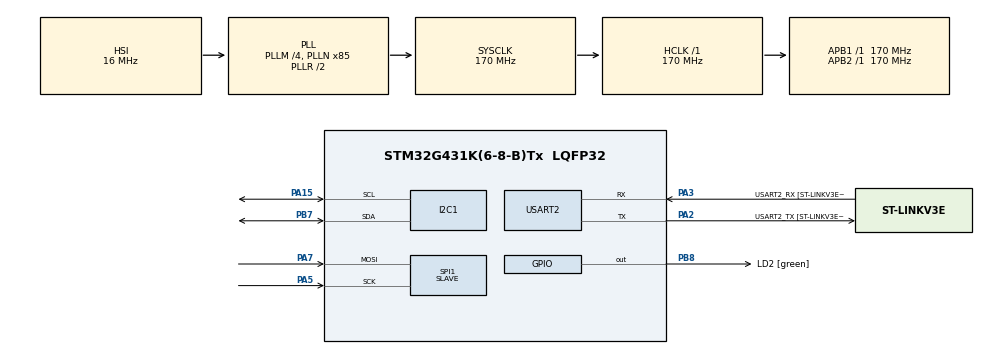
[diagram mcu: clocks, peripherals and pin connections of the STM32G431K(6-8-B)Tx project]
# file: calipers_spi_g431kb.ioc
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Dma.Request0=SPI1_RX
Dma.SPI1_RX.0.Direction=DMA_PERIPH_TO_MEMORY
Dma.SPI1_RX.0.EventEnable=DISABLE
Dma.SPI1_RX.0.Instance=DMA1_Channel1
Dma.SPI1_RX.0.MemDataAlignment=DMA_MDATAALIGN_BYTE
Dma.SPI1_RX.0.MemInc=DMA_MINC_ENABLE
Dma.SPI1_RX.0.Mode=DMA_NORMAL
Dma.SPI1_RX.0.PeriphDataAlignment=DMA_PDATAALIGN_BYTE
Dma.SPI1_RX.0.PeriphInc=DMA_PINC_DISABLE
Dma.SPI1_RX.0.Polarity=HAL_DMAMUX_REQ_GEN_RISING
Dma.SPI1_RX.0.Priority=DMA_PRIORITY_LOW
Dma.SPI1_RX.0.RequestNumber=1
Dma.SPI1_RX.0.SignalID=NONE
Dma.SPI1_RX.0.SyncEnable=DISABLE
Dma.SPI1_RX.0.SyncPolarity=HAL_DMAMUX_SYNC_NO_EVENT
Dma.SPI1_RX.0.SyncRequestNumber=1
Dma.SPI1_RX.0.SyncSignalID=NONE
I2C1.Timing=0x30A0A7FB
Mcu.Family=STM32G4
Mcu.Name=STM32G431K(6-8-B)Tx
Mcu.Package=LQFP32
NVIC.DMA1_Channel1_IRQn=true\:0\:0\:false\:false\:true\:false\:true\:true
NVIC.PriorityGroup=NVIC_PRIORITYGROUP_4
NVIC.SPI1_IRQn=true\:0\:0\:false\:false\:true\:true\:true\:true
PA13.GPIO_Label=T_SWDIO
PA13.Mode=Serial_Wire
PA13.Signal=SYS_JTMS-SWDIO
PA14.GPIO_Label=T_SWCLK
PA14.Mode=Serial_Wire
PA14.Signal=SYS_JTCK-SWCLK
PA15.Mode=I2C
PA15.Signal=I2C1_SCL
PA2.GPIO_Label=USART2_TX [ST-LINKV3E_VCP_RX]
PA2.Mode=Asynchronous
PA2.Signal=USART2_TX
PA3.GPIO_Label=USART2_RX [ST-LINKV3E_VCP_TX]
PA3.Mode=Asynchronous
PA3.Signal=USART2_RX
PA5.Mode=RX_Only_Simplex_Unidirect_Slave
PA5.Signal=SPI1_SCK
PA7.Mode=RX_Only_Simplex_Unidirect_Slave
PA7.Signal=SPI1_MOSI
PB3.GPIO_Label=T_SWO
PB3.Signal=SYS_JTDO-SWO
PB7.Mode=I2C
PB7.Signal=I2C1_SDA
PB8-BOOT0.GPIO_Label=LD2 [green]
PB8-BOOT0.Signal=GPIO_Output
ProjectManager.HeapSize=0x200
ProjectManager.StackSize=0x400
ProjectManager.TargetToolchain=STM32CubeIDE
RCC.ADC12Freq_Value=170000000
RCC.AHBFreq_Value=170000000
RCC.APB1Freq_Value=170000000
RCC.APB1TimFreq_Value=170000000
RCC.APB2Freq_Value=170000000
RCC.APB2TimFreq_Value=170000000
RCC.CortexFreq_Value=170000000
RCC.EXTERNAL_CLOCK_VALUE=12288000
RCC.HCLKFreq_Value=170000000
RCC.HSE_VALUE=8000000
RCC.HSI48_VALUE=48000000
RCC.HSI_VALUE=16000000
RCC.LSE_VALUE=32768
RCC.PLLM=RCC_PLLM_DIV4
RCC.PLLN=85
RCC.SYSCLKFreq_VALUE=170000000
RCC.SYSCLKSource=RCC_SYSCLKSOURCE_PLLCLK
RCC.USBFreq_Value=170000000
RCC.VCOOutputFreq_Value=340000000
SPI1.CLKPhase=SPI_PHASE_2EDGE
SPI1.CLKPolarity=SPI_POLARITY_HIGH
SPI1.DataSize=SPI_DATASIZE_8BIT
SPI1.Direction=SPI_DIRECTION_2LINES_RXONLY
SPI1.FirstBit=SPI_FIRSTBIT_LSB
SPI1.Mode=SPI_MODE_SLAVE
SPI1.VirtualType=VM_SLAVE
USART2.VirtualMode-Asynchronous=VM_ASYNC
USART2.WordLength=WORDLENGTH_8B
VP_SYS_VS_DBSignals.Mode=DisableDeadBatterySignals
board=NUCLEO-G431KB

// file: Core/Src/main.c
/* USER CODE BEGIN Header */
/**
 ******************************************************************************
 * @file           : main.c
 * @brief          : Main program body
 ******************************************************************************
 * @attention
 *
 * Copyright (c) 2024 STMicroelectronics.
 * All rights reserved.
 *
 * This software is licensed under terms that can be found in the LICENSE file
 * in the root directory of this software component.
 * If no LICENSE file comes with this software, it is provided AS-IS.
 *
 ******************************************************************************
 */
/* USER CODE END Header */
#include "main.h"
#include "dma.h"
#include "i2c.h"
#include "spi.h"
#include "usart.h"
#include "gpio.h"

/* USER CODE BEGIN Includes */
#include <stdio.h>
#include <stdlib.h>
#include <string.h>
#include "ssd1306.h"
/* USER CODE END Includes */

/* USER CODE BEGIN PV */
uint8_t caliper_data_rx[3];
volatile uint8_t caliper_data_received_flag = 0;
uint16_t caliper_reading_abs;
uint8_t caliper_reading_sign;
float caliper_reading;

char lcd_line[32];
/* USER CODE END PV */

void SystemClock_Config(void);

int main(void)
{

  /* MCU Configuration--------------------------------------------------------*/

  /* Reset of all peripherals, Initializes the Flash interface and the Systick. */
  HAL_Init();

  /* Configure the system clock */
  SystemClock_Config();

  /* Initialize all configured peripherals */
  MX_GPIO_Init();
  MX_DMA_Init();
  MX_USART2_UART_Init();
  MX_I2C1_Init();
  MX_SPI1_Init();
  /* USER CODE BEGIN 2 */

	ssd1306_Init();

	ssd1306_Fill(Black);
	ssd1306_SetCursor(20, 0);
	ssd1306_WriteString("ufnalski.edu.pl", Font_6x8, White);
	ssd1306_SetCursor(8, 12);
	ssd1306_WriteString("Calipers [SPI, DMA]", Font_6x8, White);
	ssd1306_SetCursor(20, 24);
	ssd1306_WriteString("Tyre gauge demo", Font_6x8, White);
	ssd1306_SetCursor(2, 40);
	ssd1306_WriteString("Tyre tread depth:", Font_6x8, White);

	ssd1306_UpdateScreen();

	HAL_SPI_Receive_DMA(&hspi1, caliper_data_rx, 3);
  /* USER CODE END 2 */

  /* Infinite loop */
  /* USER CODE BEGIN WHILE */
	while (1)
	{
		if (caliper_data_received_flag == 1)
		{
			caliper_data_received_flag = 0;
			caliper_reading_abs = (uint16_t) (caliper_data_rx[0])
					| (((uint16_t) (caliper_data_rx[1])) << 8);

			if ((0x00 == caliper_data_rx[2]) || (0x10 == caliper_data_rx[2])) // SI
			{
				caliper_reading_sign = (0x00 == caliper_data_rx[2]); // 0 -; 1 +
				caliper_reading = (((float) caliper_reading_sign) * 2.0 - 1.0)
						* ((float) caliper_reading_abs) / 100.0;
				sprintf(lcd_line, "       %.2f mm    ", caliper_reading);
			}
			else if ((0x80 == caliper_data_rx[2])
					|| (0x90 == caliper_data_rx[2])) // imperial
			{
				caliper_reading_sign = (0x80 == caliper_data_rx[2]); // 0 -; 1 +
				caliper_reading = (((float) caliper_reading_sign) * 2.0 - 1.0)
						* ((float) caliper_reading_abs) / 2000.0;
				sprintf(lcd_line, "       %.4f in      ", caliper_reading);
			}
			else
			{
				sprintf(lcd_line, "       Error!");
			}

			ssd1306_SetCursor(2, 55);
			ssd1306_WriteString(lcd_line, Font_6x8, White);
			ssd1306_UpdateScreen();
			HAL_SPI_Receive_DMA(&hspi1, caliper_data_rx, 3);
		}

    /* USER CODE END WHILE */

	}
}

void SystemClock_Config(void)
{
  RCC_OscInitTypeDef RCC_OscInitStruct = {0};
  RCC_ClkInitTypeDef RCC_ClkInitStruct = {0};

  /** Configure the main internal regulator output voltage
  */
  HAL_PWREx_ControlVoltageScaling(PWR_REGULATOR_VOLTAGE_SCALE1_BOOST);

  /** Initializes the RCC Oscillators according to the specified parameters
  * in the RCC_OscInitTypeDef structure.
  */
  RCC_OscInitStruct.OscillatorType = RCC_OSCILLATORTYPE_HSI;
  RCC_OscInitStruct.HSIState = RCC_HSI_ON;
  RCC_OscInitStruct.HSICalibrationValue = RCC_HSICALIBRATION_DEFAULT;
  RCC_OscInitStruct.PLL.PLLState = RCC_PLL_ON;
  RCC_OscInitStruct.PLL.PLLSource = RCC_PLLSOURCE_HSI;
  RCC_OscInitStruct.PLL.PLLM = RCC_PLLM_DIV4;
  RCC_OscInitStruct.PLL.PLLN = 85;
  RCC_OscInitStruct.PLL.PLLP = RCC_PLLP_DIV2;
  RCC_OscInitStruct.PLL.PLLQ = RCC_PLLQ_DIV2;
  RCC_OscInitStruct.PLL.PLLR = RCC_PLLR_DIV2;
  if (HAL_RCC_OscConfig(&RCC_OscInitStruct) != HAL_OK)
  {
    Error_Handler();
  }

  /** Initializes the CPU, AHB and APB buses clocks
  */
  RCC_ClkInitStruct.ClockType = RCC_CLOCKTYPE_HCLK|RCC_CLOCKTYPE_SYSCLK
                              |RCC_CLOCKTYPE_PCLK1|RCC_CLOCKTYPE_PCLK2;
  RCC_ClkInitStruct.SYSCLKSource = RCC_SYSCLKSOURCE_PLLCLK;
  RCC_ClkInitStruct.AHBCLKDivider = RCC_SYSCLK_DIV1;
  RCC_ClkInitStruct.APB1CLKDivider = RCC_HCLK_DIV1;
  RCC_ClkInitStruct.APB2CLKDivider = RCC_HCLK_DIV1;

  if (HAL_RCC_ClockConfig(&RCC_ClkInitStruct, FLASH_LATENCY_4) != HAL_OK)
  {
    Error_Handler();
  }
}

/* USER CODE BEGIN 4 */

void HAL_SPI_RxCpltCallback(SPI_HandleTypeDef *hspi)
{
	if (hspi->Instance == SPI1)
	{
		caliper_data_received_flag = 1;
	}
}

/* USER CODE END 4 */

void Error_Handler(void)
{
	__disable_irq();
	while (1)
	{
	}
}
